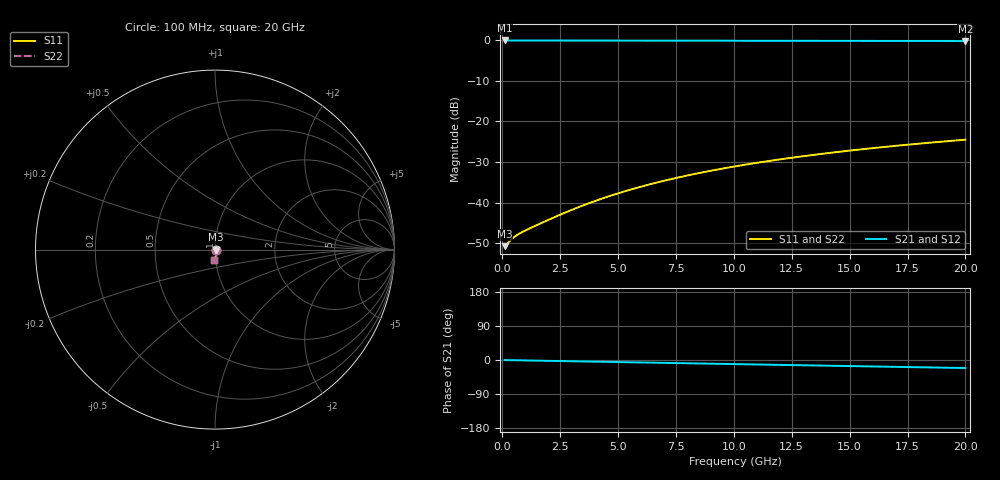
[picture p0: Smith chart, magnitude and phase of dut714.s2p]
! Touchstone file exported from HFSS 2026.1.0
!  File:  C:/ffzhzh/LocalFiles/Ansys_Project_Files/temp_train_BSMRDL_714_1783168240_55132.aedt
!  Generated:  08:31:43 PM Jul  4, 2026
!  Design:  BSMRDL
!  Project:  temp_train_BSMRDL_714_1783168240_55132
! Variables:
!  h_bsmrdl = 4.44um
!  h_ox = 20um
!  h_rdl = 5um
!  h_sub = 80um
!  h_tmrdl = 5um
!  h_tsv = 80um
!  h_via = 3um
!  l_bsmrdl = 378.49um
!  l_sub = 778.49um
!  l_tmrdl = 200um
!  m_sub = 200um
!  pitch = 13.3um
!  r_tsv = 6um
!  s_tmrdl = 10um
!  w_bsmrdl = 10.84um
!  w_sub = 500um
!  w_tmrdl = 12um
!  x_tsv_center1 = 206um
!  x_tsv_center2 = 595.33um
!  x_tsv_center3 = 807.33um
!  x_tsv_center4 = 1196.66um
!  x_tsv_center5 = 1408.66um
!  x_tsv_center6 = 1797.99um
# GHz S MA R 50.000000
! Terminal data exported
! Port[1] = BSM_RDL1_1_T1
! Port[2] = BSM_RDL1_1_T2
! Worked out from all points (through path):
!   200 points, 100 MHz to 20 GHz, reference 50 ohm
!   highest |S21| = -0.03 dB at 100 MHz (marker M1); lowest = -0.2 dB at 20 GHz (marker M2)
!   group delay of S21, straight-line fit = 2.92 ps
!   lowest |S11| = -50.7 dB at 100 MHz (marker M3), VSWR 1.01, Z = 50.3 + j0.0136 ohm
!   |S11| at or under -10 dB: start of sweep to end of sweep
!   |S22| runs from -50.7 to -24.5 dB; largest |S21 - S12| = 3.2e-15
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0.1  0.002908 2.7  0.9971 -0.1  0.9971 -0.1  0.002908 2.7
! Gamma 0 0 0 0
! Port Impedance 50 0 50 0
0.2  0.003088 3.7  0.9969 -0.3  0.9969 -0.3  0.003088 3.7
0.4  0.003537 0.8  0.9965 -0.5  0.9965 -0.5  0.003537 0.8
0.5  0.003742 -2.0  0.9963 -0.6  0.9963 -0.6  0.003742 -2.0
0.7  0.004094 -8.2  0.9959 -0.8  0.9959 -0.8  0.004094 -8.2
0.9  0.0044 -14.3  0.9957 -1.0  0.9957 -1.0  0.004399 -14.3
1.4  0.005144 -26.8  0.9953 -1.6  0.9953 -1.6  0.005143 -26.8
2.3  0.00671 -41.9  0.9948 -2.6  0.9948 -2.6  0.006707 -41.9
2.9  0.007931 -48.5  0.9944 -3.2  0.9944 -3.2  0.007928 -48.5
3.5  0.009269 -53.4  0.994 -3.9  0.994 -3.9  0.009265 -53.4
4.3  0.01121 -58.3  0.9933 -4.8  0.9933 -4.8  0.0112 -58.4
5.1  0.01328 -62.1  0.9926 -5.6  0.9926 -5.6  0.01328 -62.2
5.9  0.01548 -65.3  0.9919 -6.5  0.9919 -6.5  0.01547 -65.3
6.8  0.01806 -68.3  0.9911 -7.4  0.9911 -7.4  0.01805 -68.4
7.6  0.02043 -70.7  0.9903 -8.3  0.9903 -8.3  0.02042 -70.7
8.4  0.02286 -72.8  0.9896 -9.1  0.9896 -9.1  0.02284 -72.9
10.1  0.02814 -77.0  0.9882 -10.9  0.9882 -10.9  0.02812 -77.1
11.7  0.03322 -80.4  0.9869 -12.6  0.9869 -12.6  0.03319 -80.6
13.4  0.03865 -83.8  0.9856 -14.4  0.9856 -14.4  0.03862 -83.9
15  0.04378 -86.7  0.9845 -16.0  0.9845 -16.0  0.04374 -86.8
16.7  0.04922 -89.6  0.9833 -17.8  0.9833 -17.8  0.04918 -89.7
20  0.0597 -94.7  0.981 -21.2  0.981 -21.2  0.05964 -94.9
